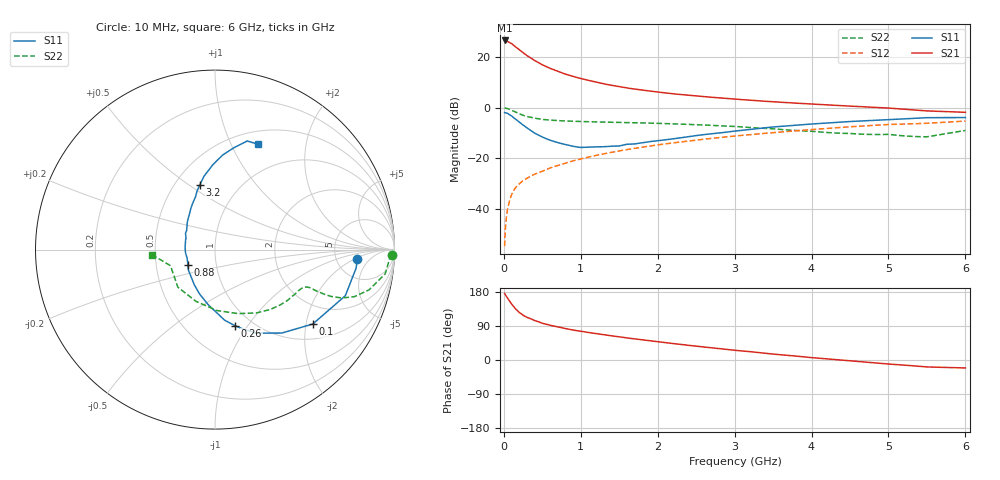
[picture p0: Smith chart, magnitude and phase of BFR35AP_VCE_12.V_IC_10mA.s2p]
! Infineon Technologies  Discrete & RF Semiconductors
! BFR35AP
! VCE =  12. V,  IC =  10 mA
! Common Emitter S-Parameters:  Nov 2015
# GHz  S  MA  R  50
!  f  S11  S21  S12  S22
! GHz  MAG  ANG  MAG  ANG  MAG  ANG  MAG  ANG
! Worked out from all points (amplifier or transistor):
!   210 points, 10 MHz to 6 GHz, reference 50 ohm
!   highest |S21| = 26.6 dB at 10 MHz (marker M1)
!   |S21| within 3 dB of that: start of sweep to 173.1 MHz
!   unconditionally stable (mu >= 1): 663.3 MHz to 2.739 GHz
!   at 185 MHz: K = 0.52, MSG = 27.0 dB, |S12| = -30.7 dB
!   at 1.52 GHz: K = 1.09, MAG = 10.8 dB, |S12| = -17.1 dB
!   at 6 GHz: K = 0.87, MSG = 1.7 dB, |S12| = -5.3 dB
!   S11 on the Smith chart (normalised r, x): 10 MHz: 8.07, -2.38; 100 MHz: 1.40, -2.19; 260 MHz: 0.83, -0.88; 880 MHz: 0.73, -0.13; 3.2 GHz: 0.66, +0.55; 6 GHz: 0.65, +1.28
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0.01  0.7955 -3.9  21.35 175.6  0.0018 84.3  0.986 -1.6
0.02  0.7924 -7.7  20.83 172.2  0.004 85.1  0.9729 -3.3
0.05  0.7701 -19.5  20.4 162.6  0.01 79.0  0.9577 -8.1
0.1  0.6845 -37.3  18.56 147.7  0.0188 72.0  0.8876 -14.6
0.15  0.5958 -51.3  16.08 135.1  0.0258 66.7  0.8187 -18.7
0.2  0.5188 -63.8  14.09 125.6  0.0307 64.7  0.7551 -20.9
0.24  0.4626 -71.5  12.59 119.7  0.0348 63.5  0.7125 -21.7
0.26  0.4388 -75.2  11.92 117.0  0.0366 63.2  0.6946 -22.0
0.3  0.3972 -82.2  10.71 112.6  0.0397 63.3  0.6655 -22.2
0.4  0.3117 -96.5  8.562 104.1  0.0478 63.4  0.6163 -22.2
0.5  0.2615 -109.3  7.036 96.9  0.0547 64.1  0.5836 -22.0
0.6  0.2261 -121.0  5.997 91.7  0.0635 65.3  0.564 -21.9
0.7  0.2029 -130.6  5.221 87.0  0.0713 65.4  0.5522 -22.2
0.88  0.1739 -150.2  4.22 79.8  0.0865 65.8  0.5368 -23.1
1.02  0.1624 -165.5  3.699 75.2  0.0977 65.9  0.5287 -24.1
1.4  0.1719 162.6  2.759 63.8  0.1299 64.8  0.5124 -28.2
2.02  0.2221 133.3  2.016 47.7  0.1842 61.0  0.486 -37.1
3.1  0.3555 105.1  1.436 23.9  0.2821 51.0  0.4124 -59.0
3.2  0.3694 103.3  1.4 22.0  0.2912 49.9  0.4028 -61.6
4.1  0.4835 90.1  1.153 4.7  0.3763 40.1  0.3293 -92.3
5.1  0.5866 78.3  0.953 -12.0  0.4669 26.6  0.284 -139.2
6  0.6346 67.6  0.806 -21.0  0.5403 15.9  0.3527 -175.5
